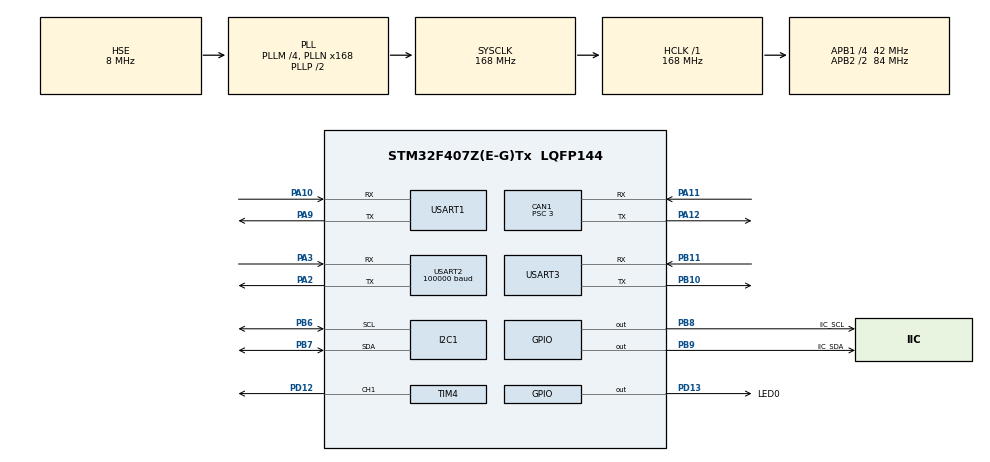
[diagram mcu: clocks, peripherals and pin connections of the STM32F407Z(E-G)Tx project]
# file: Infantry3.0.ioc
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CAN1.ABOM=ENABLE
CAN1.BS1=CAN_BS1_9TQ
CAN1.BS2=CAN_BS2_4TQ
CAN1.CalculateTimeQuantum=71.42857142857143
CAN1.Prescaler=3
Dma.Request0=USART2_RX
Dma.Request1=USART1_RX
Dma.Request2=USART1_TX
Dma.Request3=USART3_RX
Dma.Request4=USART3_TX
Dma.USART1_RX.1.Direction=DMA_PERIPH_TO_MEMORY
Dma.USART1_RX.1.FIFOMode=DMA_FIFOMODE_DISABLE
Dma.USART1_RX.1.Instance=DMA2_Stream2
Dma.USART1_RX.1.MemDataAlignment=DMA_MDATAALIGN_BYTE
Dma.USART1_RX.1.MemInc=DMA_MINC_ENABLE
Dma.USART1_RX.1.Mode=DMA_NORMAL
Dma.USART1_RX.1.PeriphDataAlignment=DMA_PDATAALIGN_BYTE
Dma.USART1_RX.1.PeriphInc=DMA_PINC_DISABLE
Dma.USART1_RX.1.Priority=DMA_PRIORITY_HIGH
Dma.USART1_TX.2.Direction=DMA_MEMORY_TO_PERIPH
Dma.USART1_TX.2.FIFOMode=DMA_FIFOMODE_DISABLE
Dma.USART1_TX.2.Instance=DMA2_Stream7
Dma.USART1_TX.2.MemDataAlignment=DMA_MDATAALIGN_BYTE
Dma.USART1_TX.2.MemInc=DMA_MINC_ENABLE
Dma.USART1_TX.2.Mode=DMA_NORMAL
Dma.USART1_TX.2.PeriphDataAlignment=DMA_PDATAALIGN_BYTE
Dma.USART1_TX.2.PeriphInc=DMA_PINC_DISABLE
Dma.USART1_TX.2.Priority=DMA_PRIORITY_HIGH
Dma.USART2_RX.0.Direction=DMA_PERIPH_TO_MEMORY
Dma.USART2_RX.0.FIFOMode=DMA_FIFOMODE_DISABLE
Dma.USART2_RX.0.Instance=DMA1_Stream5
Dma.USART2_RX.0.MemDataAlignment=DMA_MDATAALIGN_BYTE
Dma.USART2_RX.0.MemInc=DMA_MINC_ENABLE
Dma.USART2_RX.0.Mode=DMA_NORMAL
Dma.USART2_RX.0.PeriphDataAlignment=DMA_PDATAALIGN_BYTE
Dma.USART2_RX.0.PeriphInc=DMA_PINC_DISABLE
Dma.USART2_RX.0.Priority=DMA_PRIORITY_VERY_HIGH
Dma.USART3_RX.3.Direction=DMA_PERIPH_TO_MEMORY
Dma.USART3_RX.3.FIFOMode=DMA_FIFOMODE_DISABLE
Dma.USART3_RX.3.Instance=DMA1_Stream1
Dma.USART3_RX.3.MemDataAlignment=DMA_MDATAALIGN_BYTE
Dma.USART3_RX.3.MemInc=DMA_MINC_ENABLE
Dma.USART3_RX.3.Mode=DMA_NORMAL
Dma.USART3_RX.3.PeriphDataAlignment=DMA_PDATAALIGN_BYTE
Dma.USART3_RX.3.PeriphInc=DMA_PINC_DISABLE
Dma.USART3_RX.3.Priority=DMA_PRIORITY_LOW
Dma.USART3_TX.4.Direction=DMA_MEMORY_TO_PERIPH
Dma.USART3_TX.4.FIFOMode=DMA_FIFOMODE_DISABLE
Dma.USART3_TX.4.Instance=DMA1_Stream3
Dma.USART3_TX.4.MemDataAlignment=DMA_MDATAALIGN_BYTE
Dma.USART3_TX.4.MemInc=DMA_MINC_ENABLE
Dma.USART3_TX.4.Mode=DMA_NORMAL
Dma.USART3_TX.4.PeriphDataAlignment=DMA_PDATAALIGN_BYTE
Dma.USART3_TX.4.PeriphInc=DMA_PINC_DISABLE
Dma.USART3_TX.4.Priority=DMA_PRIORITY_LOW
FREERTOS.INCLUDE_vTaskDelayUntil=1
FREERTOS.Tasks01=InitTask,2,512,StartInitTask,Default,NULL,Dynamic,NULL,NULL;ControlTask,-1,512,StartControlTask,Default,NULL,Dynamic,NULL,NULL;IMUTask,0,256,StartIMUTask,Default,NULL,Dynamic,NULL,NULL;ShootTask,-3,256,StartShootTask,Default,NULL,Dynamic,NULL,NULL
FREERTOS.Timers01=CanTimerSend,CanTimerSendCallback,osTimerPeriodic,Default,NULL,Dynamic,NULL
FREERTOS.configUSE_TIMERS=1
FREERTOS.configUSE_TRACE_FACILITY=1
Mcu.Family=STM32F4
Mcu.Name=STM32F407Z(E-G)Tx
Mcu.Package=LQFP144
NVIC.CAN1_RX0_IRQn=true\:5\:0\:false\:false\:true\:true\:true
NVIC.CAN1_TX_IRQn=true\:5\:0\:false\:false\:true\:true\:true
NVIC.DMA1_Stream1_IRQn=true\:5\:0\:false\:false\:true\:true\:false
NVIC.DMA1_Stream3_IRQn=true\:5\:0\:false\:false\:true\:true\:false
NVIC.DMA1_Stream5_IRQn=true\:5\:0\:false\:false\:true\:true\:false
NVIC.DMA2_Stream2_IRQn=true\:5\:0\:false\:false\:true\:true\:false
NVIC.DMA2_Stream7_IRQn=true\:5\:0\:false\:false\:true\:true\:false
NVIC.PriorityGroup=NVIC_PRIORITYGROUP_4
NVIC.TIM2_IRQn=true\:5\:0\:false\:false\:true\:true\:true
NVIC.TIM3_IRQn=true\:5\:0\:false\:false\:true\:true\:true
NVIC.TIM4_IRQn=true\:5\:0\:false\:false\:true\:true\:true
NVIC.TIM5_IRQn=true\:5\:0\:false\:false\:true\:true\:true
NVIC.TIM6_DAC_IRQn=true\:0\:0\:false\:false\:true\:false\:false
NVIC.TimeBase=TIM6_DAC_IRQn
NVIC.TimeBaseIP=TIM6
NVIC.USART1_IRQn=true\:5\:0\:false\:false\:true\:true\:true
NVIC.USART2_IRQn=true\:5\:0\:false\:false\:true\:true\:true
NVIC.USART3_IRQn=true\:5\:0\:false\:false\:true\:true\:true
PA10.Mode=Asynchronous
PA10.Signal=USART1_RX
PA11.Mode=Master
PA11.Signal=CAN1_RX
PA12.Mode=Master
PA12.Signal=CAN1_TX
PA13.Mode=Serial_Wire
PA13.Signal=SYS_JTMS-SWDIO
PA14.Mode=Serial_Wire
PA14.Signal=SYS_JTCK-SWCLK
PA2.Mode=Asynchronous
PA2.Signal=USART2_TX
PA3.Mode=Asynchronous
PA3.Signal=USART2_RX
PA9.Mode=Asynchronous
PA9.Signal=USART1_TX
PB10.Mode=Asynchronous
PB10.Signal=USART3_TX
PB11.Mode=Asynchronous
PB11.Signal=USART3_RX
PB6.Mode=I2C
PB6.Signal=I2C1_SCL
PB7.Mode=I2C
PB7.Signal=I2C1_SDA
PB8.GPIO_Label=IIC_SCL
PB8.GPIO_PuPd=GPIO_PULLUP
PB8.GPIO_Speed=GPIO_SPEED_FREQ_VERY_HIGH
PB8.Signal=GPIO_Output
PB9.GPIO_Label=IIC_SDA
PB9.GPIO_PuPd=GPIO_PULLUP
PB9.GPIO_Speed=GPIO_SPEED_FREQ_VERY_HIGH
PB9.Signal=GPIO_Output
PD12.GPIO_ModeDefaultPP=GPIO_MODE_AF_OD
PD12.Signal=S_TIM4_CH1
PD13.GPIO_Label=LED0
PD13.Signal=GPIO_Output
PH0-OSC_IN.Mode=HSE-External-Oscillator
PH0-OSC_IN.Signal=RCC_OSC_IN
PH1-OSC_OUT.Mode=HSE-External-Oscillator
PH1-OSC_OUT.Signal=RCC_OSC_OUT
ProjectManager.HeapSize=0x200
ProjectManager.StackSize=0x400
ProjectManager.TargetToolchain=MDK-ARM V5
RCC.48MHZClocksFreq_Value=84000000
RCC.AHBFreq_Value=168000000
RCC.APB1CLKDivider=RCC_HCLK_DIV4
RCC.APB1Freq_Value=42000000
RCC.APB1TimFreq_Value=84000000
RCC.APB2CLKDivider=RCC_HCLK_DIV2
RCC.APB2Freq_Value=84000000
RCC.APB2TimFreq_Value=168000000
RCC.CortexFreq_Value=168000000
RCC.HCLKFreq_Value=168000000
RCC.HSE_VALUE=8000000
RCC.HSI_VALUE=16000000
RCC.LSE_VALUE=32768
RCC.PLLM=4
RCC.PLLN=168
RCC.PLLSourceVirtual=RCC_PLLSOURCE_HSE
RCC.SYSCLKFreq_VALUE=168000000
RCC.SYSCLKSource=RCC_SYSCLKSOURCE_PLLCLK
RCC.VCOOutputFreq_Value=336000000
SH.S_TIM4_CH1.0=TIM4_CH1,PWM Generation1 CH1
TIM2.Period=100000-1
TIM2.Prescaler=84-1
TIM3.Period=1000-1
TIM3.Prescaler=84-1
TIM4.Channel-PWM\ Generation1\ CH1=TIM_CHANNEL_1
TIM4.Period=20000-1
TIM4.Prescaler=84-1
TIM5.Period=0xfffffffe
TIM5.Prescaler=16799
USART1.VirtualMode=VM_ASYNC
USART2.BaudRate=100000
USART2.Parity=PARITY_EVEN
USART2.VirtualMode=VM_ASYNC
USART3.VirtualMode=VM_ASYNC
VP_FREERTOS_VS_ENABLE.Mode=Enabled
VP_SYS_VS_tim6.Mode=TIM6
VP_TIM2_VS_ClockSourceINT.Mode=Internal
VP_TIM3_VS_ClockSourceINT.Mode=Internal
VP_TIM4_VS_ClockSourceINT.Mode=Internal
VP_TIM5_VS_ClockSourceINT.Mode=Internal
board=custom

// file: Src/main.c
/* USER CODE BEGIN Header */
/**
  ******************************************************************************
  * @file           : main.c
  * @brief          : Main program body
  ******************************************************************************
  * This notice applies to any and all portions of this file
  * that are not between comment pairs USER CODE BEGIN and
  * USER CODE END. Other portions of this file, whether
  * inserted by the user or by software development tools
  * are owned by their respective copyright owners.
  *
  * Copyright (c) 2019 STMicroelectronics International N.V.
  * All rights reserved.
  *
  * Redistribution and use in source and binary forms, with or without
  * modification, are permitted, provided that the following conditions are met:
  *
  * 1. Redistribution of source code must retain the above copyright notice,
  *    this list of conditions and the following disclaimer.
  * 2. Redistributions in binary form must reproduce the above copyright notice,
  *    this list of conditions and the following disclaimer in the documentation
  *    and/or other materials provided with the distribution.
  * 3. Neither the name of STMicroelectronics nor the names of other
  *    contributors to this software may be used to endorse or promote products
  *    derived from this software without specific written permission.
  * 4. This software, including modifications and/or derivative works of this
  *    software, must execute solely and exclusively on microcontroller or
  *    microprocessor devices manufactured by or for STMicroelectronics.
  * 5. Redistribution and use of this software other than as permitted under
  *    this license is void and will automatically terminate your rights under
  *    this license.
  *
  * THIS SOFTWARE IS PROVIDED BY STMICROELECTRONICS AND CONTRIBUTORS "AS IS"
  * AND ANY EXPRESS, IMPLIED OR STATUTORY WARRANTIES, INCLUDING, BUT NOT
  * LIMITED TO, THE IMPLIED WARRANTIES OF MERCHANTABILITY, FITNESS FOR A
  * PARTICULAR PURPOSE AND NON-INFRINGEMENT OF THIRD PARTY INTELLECTUAL PROPERTY
  * RIGHTS ARE DISCLAIMED TO THE FULLEST EXTENT PERMITTED BY LAW. IN NO EVENT
  * SHALL STMICROELECTRONICS OR CONTRIBUTORS BE LIABLE FOR ANY DIRECT, INDIRECT,
  * INCIDENTAL, SPECIAL, EXEMPLARY, OR CONSEQUENTIAL DAMAGES (INCLUDING, BUT NOT
  * LIMITED TO, PROCUREMENT OF SUBSTITUTE GOODS OR SERVICES; LOSS OF USE, DATA,
  * OR PROFITS; OR BUSINESS INTERRUPTION) HOWEVER CAUSED AND ON ANY THEORY OF
  * LIABILITY, WHETHER IN CONTRACT, STRICT LIABILITY, OR TORT (INCLUDING
  * NEGLIGENCE OR OTHERWISE) ARISING IN ANY WAY OUT OF THE USE OF THIS SOFTWARE,
  * EVEN IF ADVISED OF THE POSSIBILITY OF SUCH DAMAGE.
  *
  ******************************************************************************
  */
/* USER CODE END Header */

#include "main.h"
#include "cmsis_os.h"
#include "can.h"
#include "dma.h"
#include "i2c.h"
#include "tim.h"
#include "usart.h"
#include "gpio.h"

/* USER CODE BEGIN Includes */
#include "inv_mpu.h"
#include "Init_Task.h"
#include "gimbal_task.h"
#include "Driver_Judge.h"
#include "control_task.h"
/* USER CODE END Includes */

void SystemClock_Config(void);
void MX_FREERTOS_Init(void);

int main(void)
{

  /* MCU Configuration--------------------------------------------------------*/

  /* Reset of all peripherals, Initializes the Flash interface and the Systick. */
  HAL_Init();

  /* Configure the system clock */
  SystemClock_Config();

  /* Initialize all configured peripherals */
  MX_GPIO_Init();
  MX_DMA_Init();
  MX_CAN1_Init();
  MX_I2C1_Init();
  MX_TIM3_Init();
  MX_TIM4_Init();
  MX_TIM5_Init();
  MX_USART1_UART_Init();
  MX_USART2_UART_Init();
  MX_USART3_UART_Init();
  MX_TIM2_Init();
  /* USER CODE BEGIN 2 */
	HAL_TIM_Base_Start_IT(&htim2);
	HAL_TIM_Base_Start_IT(&htim3);
	HAL_TIM_Base_Start_IT(&htim5);
	HAL_UART_Receive_IT_IDLE(&huart2,UART_Buffer,100);
		/*开启串口空闲中断*/
	__HAL_UART_ENABLE_IT(&huart3, UART_IT_IDLE);
	/*启动串口DMA接收*/
	HAL_UART_Receive_DMA(&huart3,rx_buffer,BUFFER_SIZE);
  /* USER CODE END 2 */

  /* Call init function for freertos objects (in freertos.c) */
  MX_FREERTOS_Init();

  /* Start scheduler */
  osKernelStart();

  /* We should never get here as control is now taken by the scheduler */

  /* Infinite loop */
  while (1)
  {

  }
}

void SystemClock_Config(void)
{
  RCC_OscInitTypeDef RCC_OscInitStruct = {0};
  RCC_ClkInitTypeDef RCC_ClkInitStruct = {0};

  /**Configure the main internal regulator output voltage
  */
  __HAL_RCC_PWR_CLK_ENABLE();
  __HAL_PWR_VOLTAGESCALING_CONFIG(PWR_REGULATOR_VOLTAGE_SCALE1);
  /**Initializes the CPU, AHB and APB busses clocks
  */
  RCC_OscInitStruct.OscillatorType = RCC_OSCILLATORTYPE_HSE;
  RCC_OscInitStruct.HSEState = RCC_HSE_ON;
  RCC_OscInitStruct.PLL.PLLState = RCC_PLL_ON;
  RCC_OscInitStruct.PLL.PLLSource = RCC_PLLSOURCE_HSE;
  RCC_OscInitStruct.PLL.PLLM = 4;
  RCC_OscInitStruct.PLL.PLLN = 168;
  RCC_OscInitStruct.PLL.PLLP = RCC_PLLP_DIV2;
  RCC_OscInitStruct.PLL.PLLQ = 4;
  if (HAL_RCC_OscConfig(&RCC_OscInitStruct) != HAL_OK)
  {
    Error_Handler();
  }
  /**Initializes the CPU, AHB and APB busses clocks
  */
  RCC_ClkInitStruct.ClockType = RCC_CLOCKTYPE_HCLK|RCC_CLOCKTYPE_SYSCLK
                              |RCC_CLOCKTYPE_PCLK1|RCC_CLOCKTYPE_PCLK2;
  RCC_ClkInitStruct.SYSCLKSource = RCC_SYSCLKSOURCE_PLLCLK;
  RCC_ClkInitStruct.AHBCLKDivider = RCC_SYSCLK_DIV1;
  RCC_ClkInitStruct.APB1CLKDivider = RCC_HCLK_DIV4;
  RCC_ClkInitStruct.APB2CLKDivider = RCC_HCLK_DIV2;

  if (HAL_RCC_ClockConfig(&RCC_ClkInitStruct, FLASH_LATENCY_5) != HAL_OK)
  {
    Error_Handler();
  }
}

void HAL_TIM_PeriodElapsedCallback(TIM_HandleTypeDef *htim)
{
  if (htim->Instance == TIM6) {
    HAL_IncTick();
  }
  /* USER CODE BEGIN Callback 1 */
	if (htim->Instance == TIM2) {
	//定时器2用来发数据给超级电容板
		send_out_103_data_set();
	}
  if (htim->Instance == TIM3) {
		//定时器3用来云台PID计算
    gimbal_set();
  }
  /* USER CODE END Callback 1 */
}

void Error_Handler(void)
{
}

/************************ (C) COPYRIGHT STMicroelectronics *****END OF FILE****/

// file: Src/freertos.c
/* USER CODE BEGIN Header */
/**
  ******************************************************************************
  * File Name          : freertos.c
  * Description        : Code for freertos applications
  ******************************************************************************
  * This notice applies to any and all portions of this file
  * that are not between comment pairs USER CODE BEGIN and
  * USER CODE END. Other portions of this file, whether
  * inserted by the user or by software development tools
  * are owned by their respective copyright owners.
  *
  * Copyright (c) 2019 STMicroelectronics International N.V.
  * All rights reserved.
  *
  * Redistribution and use in source and binary forms, with or without
  * modification, are permitted, provided that the following conditions are met:
  *
  * 1. Redistribution of source code must retain the above copyright notice,
  *    this list of conditions and the following disclaimer.
  * 2. Redistributions in binary form must reproduce the above copyright notice,
  *    this list of conditions and the following disclaimer in the documentation
  *    and/or other materials provided with the distribution.
  * 3. Neither the name of STMicroelectronics nor the names of other
  *    contributors to this software may be used to endorse or promote products
  *    derived from this software without specific written permission.
  * 4. This software, including modifications and/or derivative works of this
  *    software, must execute solely and exclusively on microcontroller or
  *    microprocessor devices manufactured by or for STMicroelectronics.
  * 5. Redistribution and use of this software other than as permitted under
  *    this license is void and will automatically terminate your rights under
  *    this license.
  *
  * THIS SOFTWARE IS PROVIDED BY STMICROELECTRONICS AND CONTRIBUTORS "AS IS"
  * AND ANY EXPRESS, IMPLIED OR STATUTORY WARRANTIES, INCLUDING, BUT NOT
  * LIMITED TO, THE IMPLIED WARRANTIES OF MERCHANTABILITY, FITNESS FOR A
  * PARTICULAR PURPOSE AND NON-INFRINGEMENT OF THIRD PARTY INTELLECTUAL PROPERTY
  * RIGHTS ARE DISCLAIMED TO THE FULLEST EXTENT PERMITTED BY LAW. IN NO EVENT
  * SHALL STMICROELECTRONICS OR CONTRIBUTORS BE LIABLE FOR ANY DIRECT, INDIRECT,
  * INCIDENTAL, SPECIAL, EXEMPLARY, OR CONSEQUENTIAL DAMAGES (INCLUDING, BUT NOT
  * LIMITED TO, PROCUREMENT OF SUBSTITUTE GOODS OR SERVICES; LOSS OF USE, DATA,
  * OR PROFITS; OR BUSINESS INTERRUPTION) HOWEVER CAUSED AND ON ANY THEORY OF
  * LIABILITY, WHETHER IN CONTRACT, STRICT LIABILITY, OR TORT (INCLUDING
  * NEGLIGENCE OR OTHERWISE) ARISING IN ANY WAY OUT OF THE USE OF THIS SOFTWARE,
  * EVEN IF ADVISED OF THE POSSIBILITY OF SUCH DAMAGE.
  *
  ******************************************************************************
  */
/* USER CODE END Header */

#include "FreeRTOS.h"
#include "task.h"
#include "main.h"
#include "cmsis_os.h"

/* USER CODE BEGIN Includes */
#include "can.h"
#include "mains.h"
#include "usart.h"
#include "inv_mpu.h"
#include "can_task.h"
#include "imu_task.h"
#include "Init_Task.h"
#include "print_task.h"
#include "shoot_task.h"
#include "gimbal_task.h"
#include "keymouse_task.h"
/* USER CODE END Includes */

/* USER CODE BEGIN PM */
extern uint16_t gimbal_cali_step;
extern uint8_t Gimbal_Cali_Complete;
/* USER CODE END PM */

osThreadId InitTaskHandle;
osThreadId ControlTaskHandle;
osThreadId IMUTaskHandle;
osThreadId ShootTaskHandle;
osTimerId CanTimerSendHandle;

void StartInitTask(void const * argument);
void StartControlTask(void const * argument);
void StartIMUTask(void const * argument);
void StartShootTask(void const * argument);
void CanTimerSendCallback(void const * argument);

void MX_FREERTOS_Init(void); /* (MISRA C 2004 rule 8.1) */

void MX_FREERTOS_Init(void) {

  /* Create the timer(s) */
  /* definition and creation of CanTimerSend */
  osTimerDef(CanTimerSend, CanTimerSendCallback);
  CanTimerSendHandle = osTimerCreate(osTimer(CanTimerSend), osTimerPeriodic, NULL);

  /* Create the thread(s) */
  /* definition and creation of InitTask */
  osThreadDef(InitTask, StartInitTask, osPriorityHigh, 0, 512);
  InitTaskHandle = osThreadCreate(osThread(InitTask), NULL);

  /* definition and creation of ControlTask */
  osThreadDef(ControlTask, StartControlTask, osPriorityBelowNormal, 0, 512);
  ControlTaskHandle = osThreadCreate(osThread(ControlTask), NULL);

  /* definition and creation of IMUTask */
  osThreadDef(IMUTask, StartIMUTask, osPriorityNormal, 0, 256);
  IMUTaskHandle = osThreadCreate(osThread(IMUTask), NULL);

  /* definition and creation of ShootTask */
  osThreadDef(ShootTask, StartShootTask, osPriorityIdle, 0, 256);
  ShootTaskHandle = osThreadCreate(osThread(ShootTask), NULL);

}

void StartInitTask(void const * argument)
{

  /* USER CODE BEGIN StartInitTask */
  /* Infinite loop */
			//云台、底盘参数初始化任务都在这
//	SETUP();
	my_can_filter_init_recv_all(&hcan1);     //配置CAN过滤器
	HAL_CAN_Receive_IT(&hcan1, CAN_FIFO0);   //启动CAN接收中断
	while(!yaw_can_receive || !pitch_can_receive)
		bsp_init ();
		osTimerStart(CanTimerSendHandle, 1);
		vTaskDelete (InitTaskHandle);
  /* USER CODE END StartInitTask */
}

void StartControlTask(void const * argument)
{
  /* USER CODE BEGIN StartControlTask */
  /* Infinite loop */
  for(;;)
  {
//    loop();
		if(Resurrection_reset())
			{
				gimbal_cali_step = GIMBAL_CALI_YAW_MAX_STEP;
				Gimbal_Cali_Complete = 0;
				can_count_reset = 0;
				yaw_can_receive = 0;
				pitch_can_receive = 0;
			}
			if(yaw_can_receive && pitch_can_receive )
			{
				gimbal_change();
			}
    vTaskDelay (1);
  }
  /* USER CODE END StartControlTask */
}

void StartIMUTask(void const * argument)
{
  /* USER CODE BEGIN StartIMUTask */
	portTickType CurrentControlTick = 0;                //当前系统时间
  /* Infinite loop */
  for(;;)
  {
    CurrentControlTick = xTaskGetTickCount();
    Get_IMU_Data();
//		shanwai_sprintf();
    vTaskDelayUntil(&CurrentControlTick, 5 / portTICK_RATE_MS);
  }
  /* USER CODE END StartIMUTask */
}

void StartShootTask(void const * argument)
{
  /* USER CODE BEGIN StartShootTask */
  /* Infinite loop */
  for(;;)
  {
		//摩擦轮、拨弹轮控制
		shoot_mode();
		vTaskDelay (2);
  }
  /* USER CODE END StartShootTask */
}

/* CanTimerSendCallback function */
void CanTimerSendCallback(void const * argument)
{
  /* USER CODE BEGIN CanTimerSendCallback */
	//软件定时器，写入电机电流值（1ms执行一次）
  GIMBAL_CAN_SEND();
  /* USER CODE END CanTimerSendCallback */
}

/************************ (C) COPYRIGHT STMicroelectronics *****END OF FILE****/
